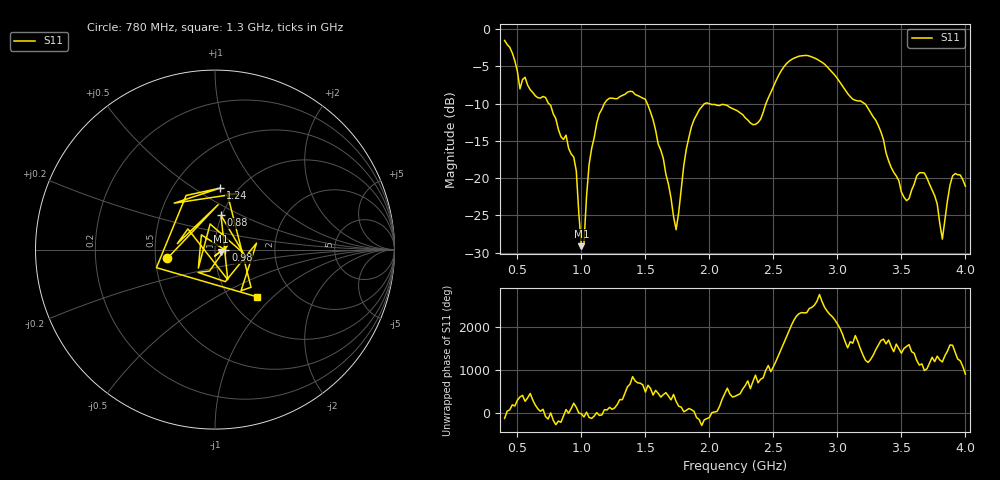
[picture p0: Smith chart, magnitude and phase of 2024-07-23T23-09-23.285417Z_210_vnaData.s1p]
!Created with skrf (http://scikit-rf.org).
# Hz S RI R 50.0
!freq ReS11 ImS11
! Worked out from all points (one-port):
!   181 points, 400 MHz to 4 GHz, reference 50 ohm
!   lowest |S11| = -29.1 dB at 1 GHz (marker M1), VSWR 1.07, Z = 53.4 - j1.21 ohm
!   |S11| at or under -10 dB: 1.515 GHz to 1.962 GHz (446.8 MHz wide, 25.7 % of centre); 1.999 GHz to 2.441 GHz (442.8 MHz wide, 19.9 % of centre); 3.213 GHz to end of sweep (the widest 3 of 4)
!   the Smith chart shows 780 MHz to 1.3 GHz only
!   S11 on the Smith chart (normalised r, x): 780 MHz: 0.58, -0.06; 880 MHz: 0.99, +0.39; 980 MHz: 1.12, -0.01; 1.24 GHz: 0.83, +0.65; 1.3 GHz: 1.34, -0.80
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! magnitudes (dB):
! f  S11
! 400 MHz  -1.5
! 520 MHz  -8.0
! 780 MHz  -11.4
! 860 MHz  -14.8
! 880 MHz  -14.2
! 960 MHz  -19.0
! 980 MHz  -24.8
! 1 GHz  -29.1
! 1.02 GHz  -28.8
! 1.06 GHz  -18.2
! 1.12 GHz  -12.6
! 1.24 GHz  -9.3
! 1.3 GHz  -9.1
! 1.5 GHz  -9.4
! 1.74 GHz  -26.9
! 1.76 GHz  -24.6
! 1.82 GHz  -16.1
! 1.92 GHz  -10.8
! 2.2 GHz  -10.8
! 2.38 GHz  -12.5
! 2.66 GHz  -3.9
! 3.1 GHz  -9.0
! 3.3 GHz  -12.2
! 3.56 GHz  -22.8
! 3.68 GHz  -19.3
! 3.82 GHz  -28.2
! 3.9 GHz  -19.7
! 4 GHz  -21.1
